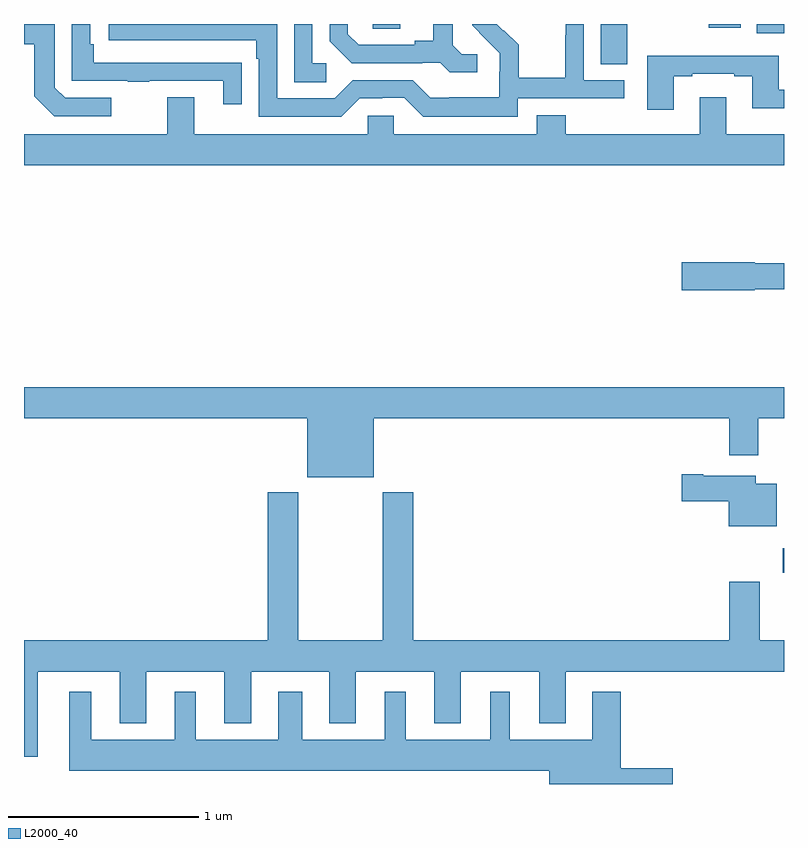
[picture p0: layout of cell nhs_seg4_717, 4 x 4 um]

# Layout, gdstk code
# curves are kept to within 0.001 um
import gdstk
lib = gdstk.Library(unit=1e-6, precision=1e-09)
def R(c, l, rs):  # rectangles x0, y0, x1, y1
    for r in rs: c.add(gdstk.rectangle(r[:2], r[2:], *l))
def P(c, l, *ps):  # polygons
    for p in ps: c.add(gdstk.Polygon(p, *l))
L2000_40 = (2000, 40)

nhs_seg4_717 = lib.new_cell('nhs_seg4_717')
R(nhs_seg4_717, L2000_40, [(150.993,792.013,151,792.141), (150.035,794.689,150.175,794.9), (150.857,794.852,151,794.9), (148.836,794.875,148.981,794.9), (150.605,794.88,150.772,794.9)])
P(nhs_seg4_717, L2000_40, [(148.591,794.694),(148.518,794.694),(148.518,794.9),(148.422,794.9),(148.422,794.593),(148.591,794.593)],
  [(147.46,794.511),(147.216,794.511),(147.162,794.565),(147.162,794.9),(147,794.9),(147,794.794),(147.054,794.794),(147.054,794.521),(147.159,794.415),(147.46,794.415)],
  [(149.598,794.508),(150.16,794.508),(150.16,794.604),(149.946,794.604),(149.946,794.9),(149.85,794.9),(149.85,794.84),(149.848,794.84),(149.848,794.617),(149.603,794.617),(149.603,794.791),(149.526,794.868),(149.523,794.865),(149.488,794.9),(149.358,794.9),(149.358,794.894),(149.504,794.746),(149.504,794.649),(149.502,794.649),(149.502,794.515),(149.239,794.515),(149.239,794.511),(149.139,794.511),(149.046,794.604),(148.731,794.604),(148.635,794.508),(148.332,794.508),(148.332,794.9),(147.447,794.9),(147.447,794.814),(148.223,794.814),(148.223,794.717),(148.236,794.717),(148.236,794.412),(148.671,794.412),(148.767,794.508),(148.886,794.508),(148.886,794.511),(149.001,794.511),(149.101,794.411),(149.598,794.411)],
  [(149.386,794.742),(149.304,794.742),(149.257,794.789),(149.257,794.9),(149.153,794.9),(149.153,794.813),(149.057,794.813),(149.057,794.79),(148.762,794.79),(148.705,794.847),(148.705,794.9),(148.608,794.9),(148.608,794.81),(148.724,794.694),(149.096,794.694),(149.096,794.697),(149.19,794.697),(149.242,794.645),(149.386,794.645)],
  [(148.145,794.696),(148.043,794.696),(148.043,794.697),(147.368,794.697),(147.368,794.794),(147.348,794.794),(147.348,794.9),(147.252,794.9),(147.252,794.601),(147.547,794.601),(147.547,794.596),(147.659,794.596),(147.659,794.601),(148.049,794.601),(148.049,794.478),(148.145,794.478)],
  [(150.421,794.625),(150.517,794.625),(150.517,794.637),(150.737,794.637),(150.737,794.625),(150.833,794.625),(150.833,794.456),(151,794.456),(151,794.553),(150.973,794.553),(150.973,794.734),(150.281,794.734),(150.281,794.448),(150.421,794.448)],
  [(151,794.32),(150.697,794.32),(150.697,794.515),(150.557,794.515),(150.557,794.32),(149.852,794.32),(149.852,794.419),(149.699,794.419),(149.699,794.32),(148.947,794.32),(148.947,794.418),(148.809,794.418),(148.809,794.32),(147.895,794.32),(147.895,794.515),(147.755,794.515),(147.755,794.32),(147,794.32),(147,794.156),(151,794.156)],
  [(150.846,793.504),(151,793.504),(151,793.64),(150.846,793.64),(150.846,793.646),(150.462,793.646),(150.462,793.499),(150.846,793.499)],
  [(148.84,792.824),(150.713,792.824),(150.713,792.63),(150.865,792.63),(150.865,792.824),(151,792.824),(151,792.988),(147,792.988),(147,792.824),(148.49,792.824),(148.49,792.515),(148.84,792.515)],
  [(150.961,792.481),(150.85,792.481),(150.85,792.523),(150.574,792.523),(150.574,792.531),(150.462,792.531),(150.462,792.389),(150.71,792.389),(150.71,792.257),(150.961,792.257)],
  [(147.073,791.492),(147.503,791.492),(147.503,791.219),(147.643,791.219),(147.643,791.492),(148.055,791.492),(148.055,791.219),(148.195,791.219),(148.195,791.492),(148.607,791.492),(148.607,791.219),(148.747,791.219),(148.747,791.492),(149.159,791.492),(149.159,791.219),(149.299,791.219),(149.299,791.492),(149.711,791.492),(149.711,791.219),(149.851,791.219),(149.851,791.492),(151,791.492),(151,791.656),(150.873,791.656),(150.873,791.965),(150.713,791.965),(150.713,791.656),(149.048,791.656),(149.048,792.436),(148.888,792.436),(148.888,791.656),(148.443,791.656),(148.443,792.436),(148.283,792.436),(148.283,791.656),(147,791.656),(147,791.043),(147.073,791.043)],
  [(150.415,790.982),(150.14,790.982),(150.14,791.386),(149.99,791.386),(149.99,791.134),(149.557,791.134),(149.557,791.386),(149.453,791.386),(149.453,791.134),(149.008,791.134),(149.008,791.386),(148.898,791.386),(148.898,791.134),(148.465,791.134),(148.465,791.386),(148.337,791.386),(148.337,791.134),(147.904,791.134),(147.904,791.386),(147.794,791.386),(147.794,791.134),(147.355,791.134),(147.355,791.386),(147.239,791.386),(147.239,790.97),(149.765,790.97),(149.765,790.9),(150.415,790.9)])

lib.write_gds('nhs_seg4_717.gds')
